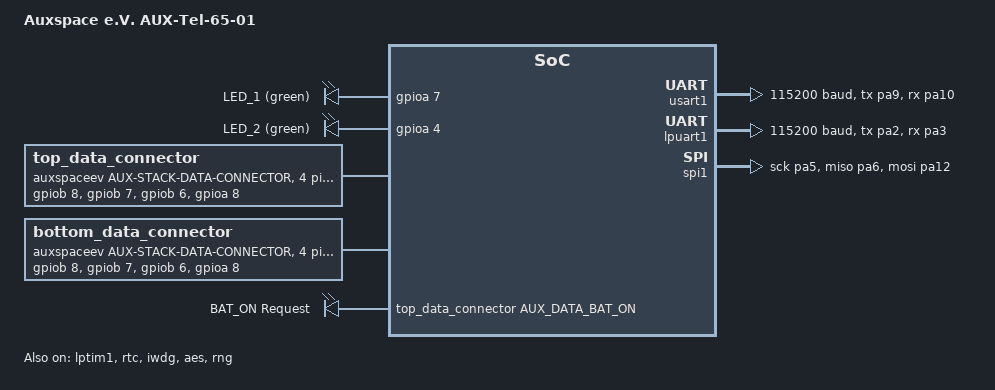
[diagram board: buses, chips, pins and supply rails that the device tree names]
/*
 * Copyright (c) 2026 Auxspace e.V.
 *
 * SPDX-License-Identifier: Apache-2.0
 *
 * AUX-Tel-65-01 hardware: the telemetry board of the AUX-Stack. A 65 mm
 * round PCB, revision 01, that stacks on AUX-Core-65-01 through the same
 * pair of AUX-Stack connectors.
 *
 *   - Würth Daphnis-I (STM32WLE5CCU6) LoRa module. The antenna goes to
 *     the module's UMRF (U.FL / MHF1) connector, so the RF pad is left
 *     as an unconnected solder pad - which is what the user manual
 *     requires when the UMRF connector is used, not an omission.
 *   - MCP2515 SPI CAN controller behind a TCAN334 transceiver, tapped off
 *     the stack CAN_H/CAN_L pair (124 Ohm split termination on board).
 *   - Inter-board link to AUX-Core over the stack UART on LPUART1.
 *   - Console and SWD on the J5 2x3 debug header.
 *   - Two green status LEDs, RESET and BOOT buttons.
 *   - 3V3 from a TPS7B8601 LDO fed by a jumper-selected VBus rail.
 *
 * ---------------------------------------------------------------------
 * Hardware revision this file describes
 * ---------------------------------------------------------------------
 * Two rev-01 netlist changes are assumed here, because the MCP2515
 * cannot be driven at all without them:
 *
 *   1. SPI_SCK moves from Daphnis pin 2 (PB8) to pin 16 (PA5), and ARM
 *      takes pin 2 in exchange. PB8 has no SPI alternate function on the
 *      STM32WLE5, while PA5 is SPI1_SCK. The module's other two SPI1_SCK
 *      pads, PA1 (B2) and PB3 (31), would work under our own firmware
 *      too - "RESERVED" only means the factory AT firmware claims them
 *      (see daphnis1.dtsi) - but rev 01 leaves both unrouted, so
 *      swapping two nets that are already routed is the cheaper fix.
 *   2. The MCP2515 ~INT (U4 pin 12) is routed to Daphnis pin 13
 *      (PA0, /WAKE_UP), which rev 01 leaves as a no-connect. Zephyr's
 *      microchip,mcp2515 binding has int-gpios as a required property,
 *      and the controller is unusable without an interrupt line. PA0 is
 *      also the module's wake-capable input, which is what a CAN
 *      interrupt wants to be.
 *
 * Still open on the PCB and NOT worked around here:
 *   - MCP2515 ~RESET (U4 pin 17) is a no-connect, i.e. floating. A
 *     pull-up to +3V3 is enough; one of the unrouted pads above (PA15 on
 *     pin 28, say) would give firmware control over it instead.
 *   - TCAN334 STB and SHDN (U3 pins 8 and 5) are no-connects. Tie them
 *     low for normal mode rather than relying on internal biasing.
 *   - D1, D2 and D3 are drawn anode-to-GND, cathode-to-driver, which on
 *     paper is backwards: the module's LED_1/LED_2 are active HIGH (user
 *     manual chapter 5.9), so the GPIO is meant to source into the anode.
 *     The assembled rev-01 board does light D3 in bootloader mode, so the
 *     physical polarity is right and only the schematic symbols are
 *     inverted - worth fixing before the next assembly run, since the
 *     discrepancy could be resolved the other way next time. The LED
 *     nodes below are GPIO_ACTIVE_HIGH per the user manual; if a blink
 *     test comes out inverted, flip them to GPIO_ACTIVE_LOW.
 */

#include <auxspace/dt-bindings/gpio/auxspaceev-aux-stack-data-connector.h>

/ {
	model = "Auxspace e.V. AUX-Tel-65-01";
	compatible = "auxspaceev,tel65";

	aliases {
		watchdog0 = &iwdg;
		lora0 = &lora;
		led0 = &led_1;
		led1 = &led_2;
		uart-0 = &usart1;
	};

	chosen {
		zephyr,sram = &sram0;
		zephyr,flash = &flash0;
		zephyr,code-partition = &slot0_partition;
		/* J5 debug header; the stack UART stays free for AUX-Core. */
		zephyr,console = &usart1;
		zephyr,shell-uart = &usart1;
		zephyr,system-timer = &lptim1;
		zephyr,canbus = &aux_data_can;
	};

	status_leds: status-leds {
		compatible = "gpio-leds";

		led_1: led_1 {
			gpios = <&gpioa 7 GPIO_ACTIVE_HIGH>;
			label = "LED_1 (green)";
		};

		led_2: led_2 {
			gpios = <&gpioa 4 GPIO_ACTIVE_HIGH>;
			label = "LED_2 (green)";
		};
	};

	/*
	 * Both stack connectors are wired in parallel on AUX-Tel: the four
	 * information signals land on the same module pins, and CAN_H/CAN_L
	 * plus the UART and I2C pairs are bridged top-to-bottom through 0R
	 * links (R21..R26). The board is a pass-through for I2C, so neither
	 * connector claims an i2c-bus - nothing on AUX-Tel sits on it.
	 */
	top_data_connector: connector_0 {
		compatible = "auxspaceev,aux-stack-data-connector";
		#gpio-cells = <2>;
		gpio-map-mask = <0xffffffff 0xffffffc0>;
		gpio-map-pass-thru = <0 0x3f>;
		gpio-map = <AUX_DATA_ARM 0 &gpiob 8 0>,
			   <AUX_DATA_LIFTOFF 0 &gpiob 7 0>,
			   <AUX_DATA_PWRFLT 0 &gpiob 6 0>,
			   <AUX_DATA_BAT_ON 0 &gpioa 8 0>;

		can-bus = <&aux_data_can>;
		uart-bus = <&lpuart1>;
	};

	bottom_data_connector: connector_1 {
		compatible = "auxspaceev,aux-stack-data-connector";
		#gpio-cells = <2>;
		gpio-map-mask = <0xffffffff 0xffffffc0>;
		gpio-map-pass-thru = <0 0x3f>;
		gpio-map = <AUX_DATA_ARM 0 &gpiob 8 0>,
			   <AUX_DATA_LIFTOFF 0 &gpiob 7 0>,
			   <AUX_DATA_PWRFLT 0 &gpiob 6 0>,
			   <AUX_DATA_BAT_ON 0 &gpioa 8 0>;

		can-bus = <&aux_data_can>;
		uart-bus = <&lpuart1>;
	};

	/*
	 * ARM, LIFTOFF and PWRFLT are inputs on AUX-Tel - AUX-Core and
	 * AUX-Pwr drive them - so they are reached through the connector
	 * nexus above. BAT_ON is the one signal this board drives.
	 */
	stack_outputs: stack-outputs {
		compatible = "gpio-leds";

		bat_on_request: bat_on0 {
			gpios = <&top_data_connector AUX_DATA_BAT_ON GPIO_ACTIVE_HIGH>;
			label = "BAT_ON Request";
		};
	};
};

/* HSI16 x 6 / 2 = 48 MHz. HSE is reserved for the radio's TCXO. */
&pll {
	div-m = <1>;
	mul-n = <6>;
	div-r = <2>;
	div-q = <2>;
	clocks = <&clk_hsi>;
	status = "okay";
};

&rcc {
	clocks = <&pll>;
	clock-frequency = <DT_FREQ_M(48)>;
	cpu1-prescaler = <1>;
	ahb3-prescaler = <1>;
	apb1-prescaler = <1>;
	apb2-prescaler = <1>;
};

/*
 * LPTIM1 off the LSE is wired up as zephyr,system-timer, but
 * CONFIG_STM32_LPTIM_TIMER also depends on CONFIG_PM, so the kernel runs
 * on SysTick until an application opts into power management. Enabling
 * CONFIG_PM=y is all it takes to move the tick over.
 */
&lptim1 {
	clocks = <&rcc STM32_CLOCK(APB1, 31)>,
		 <&rcc STM32_SRC_LSE LPTIM1_SEL(3)>;
	status = "okay";
};

&rtc {
	clocks = <&rcc STM32_CLOCK(APB1, 10)>,
		 <&rcc STM32_SRC_LSE RTC_SEL(1)>;
	status = "okay";
};

&iwdg {
	status = "okay";
};

&aes {
	status = "okay";
};

&rng {
	status = "okay";
};

/* J5 pin 3 (UTXD1) / pin 1 (URXD1), alongside SWDIO and SWDCLK. */
&usart1 {
	pinctrl-0 = <&usart1_tx_pa9 &usart1_rx_pa10>;
	pinctrl-names = "default";
	current-speed = <115200>;
	status = "okay";
};

/*
 * The stack UART. Daphnis LPUTXD1 (PA2) drives the connector's UART_RX
 * pin and LPURXD1 (PA3) listens on UART_TX, i.e. the connector pins are
 * named from the brain board's point of view, so this mates with
 * AUX-Core's aux_data_uart_* without a crossover.
 */
aux_data_uart: &lpuart1 {
	pinctrl-0 = <&lpuart1_tx_pa2 &lpuart1_rx_pa3>;
	pinctrl-names = "default";
	current-speed = <115200>;
	status = "okay";
};

&spi1 {
	pinctrl-0 = <&spi1_sck_pa5 &spi1_miso_pa6 &spi1_mosi_pa12>;
	pinctrl-names = "default";
	cs-gpios = <&gpiob 2 GPIO_ACTIVE_LOW>;

	/*
	 * Y2 is an 8 MHz crystal, which caps the MCP2515 at 500 kbit/s
	 * (Tq = 2 x (BRP + 1) / Fosc, and a bit needs at least 8 Tq). No
	 * bitrate is set here so both ends of the stack bus fall back to
	 * CONFIG_CAN_DEFAULT_BITRATE, the same as AUX-Core's TWAI.
	 */
	aux_data_can: can@0 {
		compatible = "microchip,mcp2515";
		reg = <0x0>;
		spi-max-frequency = <DT_FREQ_M(4)>;
		osc-freq = <DT_FREQ_M(8)>;
		int-gpios = <&gpioa 0 GPIO_ACTIVE_LOW>;
		status = "disabled";

		can-transceiver {
			max-bitrate = <1000000>;
		};
	};
};

/*
 * No MCUboot on this board: the only programming path is SWD on J5, and
 * 256 kB of flash does not leave room for two image slots plus a
 * bootloader. The application therefore starts at the bottom of flash.
 */
&flash0 {
	partitions {
		ranges;
		#address-cells = <1>;
		#size-cells = <1>;

		slot0_partition: partition@0 {
			compatible = "zephyr,mapped-partition";
			label = "image-0";
			reg = <0x00000000 DT_SIZE_K(248)>;
		};

		storage_partition: partition@3e000 {
			compatible = "zephyr,mapped-partition";
			label = "storage";
			reg = <0x0003e000 DT_SIZE_K(8)>;
		};
	};
};
